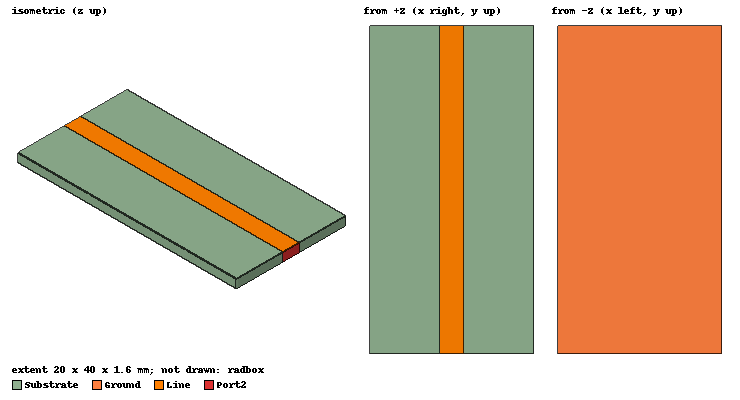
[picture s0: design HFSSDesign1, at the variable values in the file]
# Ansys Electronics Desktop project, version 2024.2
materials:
  vacuum: permittivity=1
  FR4_epoxy: permittivity=4.4 dielectric_loss_tangent=0.02
  air: permittivity=1.0006 permeability=1.0000004

design HFSSDesign1 (HFSS, HFSS Terminal Network, model units mm)
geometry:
  Ground = rectangle(corner=(0mm, 0mm, 0mm), x_size=20mm, y_size=40mm)
  Substrate [FR4_epoxy] = box(corner=(0mm, 0mm, 0mm), size=(20mm, 40mm, 1.6mm))
  Line = rectangle(corner=((10-1.5) mm, 0mm, 1.6mm), x_size=3mm, y_size=40mm)
  Port1 = rectangle(corner=(8.5mm, 0mm, 1.6mm), z_size=-1.6mm, x_size=3mm)
  Port2 = rectangle(corner=(11.5mm, 40mm, 1.6mm), z_size=-1.6mm, x_size=-3mm)
  radbox [air] = box(corner=(-10mm, -10mm, -20mm), size=(40mm, 60mm, 40mm))
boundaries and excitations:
  PerfE1: Perfect E Objects=[Ground, Line]
  Rad1: Radiation Objects=radbox
  1: Lumped Port Objects=Port1 LumpedPortType=Modal Modes{Mode1{IntLine{(10, 0, 1.6) -> (10, 0, 0)} CharImp=Zpi RenormImp=50ohm}} Impedance=50ohm
  2: Lumped Port Objects=Port2 LumpedPortType=Modal Modes{Mode1{IntLine{(10, 40, 1.6) -> (10, 40, 0)} CharImp=Zpi RenormImp=50ohm}} Impedance=50ohm
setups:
  Setup1: HfssDriven Frequency=5GHz MaxDeltaS=0.02 MaximumPasses=6 MinimumPasses=1 MinimumConvergedPasses=1 PercentRefinement=30 BasisOrder=1 PortAccuracy=2 DrivenSolverType="Direct Solver"
    sweep Sweep: 1GHz to 20GHz step 0.1GHz; Type=Fast SaveFields
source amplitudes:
  1:1: 1V 0deg
  2:1: 0V 0deg
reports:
  S Parameter Plot 1: dB(S(1,1)), dB(S(2,1)), dB(S(1,2)), dB(S(2,2)) vs Freq on Setup1 : Sweep
